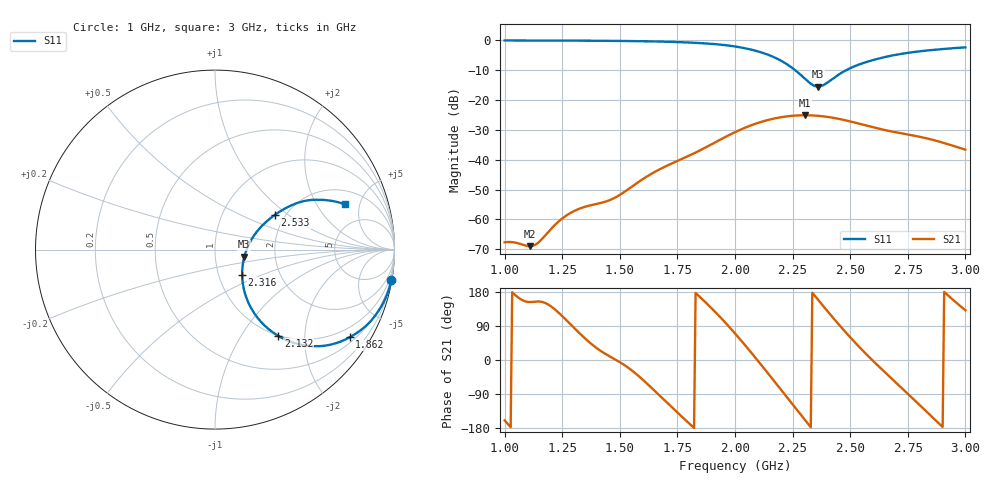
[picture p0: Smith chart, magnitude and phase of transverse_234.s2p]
! TOUCHSTONE file generated by CST MICROWAVE STUDIO
! Date and time: Tue Mar 11 13:57:56 2025
! Project name: transverse.cst
! Parameters = {Fracture=5; B=10; D=160; F=15; Feed=2.85625; L=100; M=20; R=0.384908; S=1; Theta=270; length=57.125; wave=114.25}
! Header version: 2024
! Port assignment regex: !\s*Touchstone port\s*([0-9]+)\s*=\s*(CST MWS port|CST DES external port|CST DES block port)\s*(.+)\s* \(\"(.*)\"\)(\s*mode\s*([0-9]+))?.*
! Touchstone port assignment:
! Touchstone port 1 = CST MWS port 1 ("")
! Touchstone port 2 = CST MWS port 2 ("")
# GHz S MA R 50
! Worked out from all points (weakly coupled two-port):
!   305 points, 1 GHz to 3 GHz, reference 50 ohm
!   highest |S21| = -25.09 dB at 2.303 GHz (marker M1); lowest = -69.0 dB at 1.112 GHz (marker M2)
!   lowest |S11| = -15.5 dB at 2.362 GHz (marker M3), VSWR 1.40, Z = 69.3 - j5.54 ohm
!   |S11| at or under -10 dB: 2.261 GHz to 2.482 GHz (220.7 MHz wide, 9.31 % of centre)
!   S12 and S22 are empty: the file has one direction only
!   S11 on the Smith chart (normalised r, x): 1 GHz: 0, -12; 1.862 GHz: 0.66, -3.24; 2.132 GHz: 0.99, -1.48; 2.316 GHz: 1.29, -0.38; 2.533 GHz: 1.77, +0.81; 3 GHz: 2.95, +3.57
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1  0.9977 -9.8  0.0004119 -159.3  0 0.0  0 0.0
1.03947  0.9971 -10.3  0.0004122 175.0  0 0.0  0 0.0
1.11184  0.9961 -11.3  0.0003555 152.9  0 0.0  0 0.0
1.14474  0.9956 -11.8  0.0004036 154.4  0 0.0  0 0.0
1.25658  0.9927 -13.7  0.00108 112.2  0 0.0  0 0.0
1.33553  0.9895 -15.1  0.001565 64.6  0 0.0  0 0.0
1.47368  0.9815 -18.2  0.002253 3.6  0 0.0  0 0.0
1.67105  0.957 -24.2  0.006845 -93.0  0 0.0  0 0.0
1.86184  0.8952 -33.1  0.01528 158.3  0 0.0  0 0.0
2  0.7914 -42.9  0.02894 70.2  0 0.0  0 0.0
2.13158  0.5973 -53.7  0.04512 -26.3  0 0.0  0 0.0
2.22368  0.4031 -58.4  0.05321 -96.9  0 0.0  0 0.0
2.30263  0.2293 -48.2  0.05563 -157.4  0 0.0  0 0.0
2.31579  0.2065 -42.9  0.05558 -167.4  0 0.0  0 0.0
2.33553  0.1807 -32.0  0.05524 177.6  0 0.0  0 0.0
2.36184  0.1682 -13.3  0.05436 157.9  0 0.0  0 0.0
2.38816  0.1821 4.2  0.05303 138.5  0 0.0  0 0.0
2.44079  0.253 23.1  0.04922 100.6  0 0.0  0 0.0
2.53289  0.3872 30.1  0.04071 38.5  0 0.0  0 0.0
2.67105  0.5468 29.1  0.03021 -43.9  0 0.0  0 0.0
2.84211  0.6821 23.8  0.02232 -142.7  0 0.0  0 0.0
3  0.7643 19.2  0.01474 131.2  0 0.0  0 0.0
